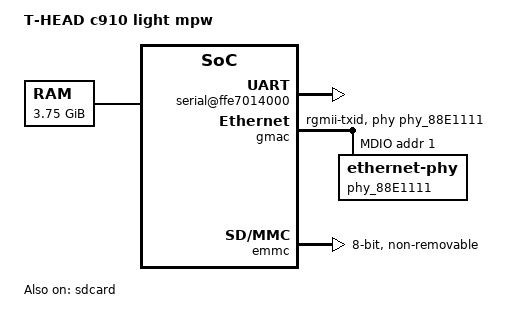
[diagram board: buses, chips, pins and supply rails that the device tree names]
/dts-v1/;
/ {
	model = "T-HEAD c910 light mpw";
	compatible = "thead,c910_light_mpw";
	#address-cells = <2>;
	#size-cells = <2>;

	memory@0 {
		device_type = "memory";
		reg = <0x0 0x00200000 0x0 0xf0000000>;
	};

	cpus {
		#address-cells = <1>;
		#size-cells = <0>;
		timebase-frequency = <0x2dc6c0>;
		cpu@0 {
			device_type = "cpu";
			reg = <0>;
			status = "okay";
			compatible = "riscv";
			riscv,isa = "rv64imafdcvsu";
			mmu-type = "riscv,sv39";
			cpu-freq = "1.5Ghz";
			cpu-icache = "64KB";
			cpu-dcache = "64KB";
			cpu-l2cache = "2MB";
			cpu-tlb = "1024 4-ways";
			cpu-cacheline = "64Bytes";
			cpu-vector = "0.7.1";
			cpu0_intc: interrupt-controller {
				#interrupt-cells = <1>;
				compatible = "riscv,cpu-intc";
				interrupt-controller;
			};
		};
		cpu@1 {
			device_type = "cpu";
			reg = <1>;
			status = "okay";
			compatible = "riscv";
			riscv,isa = "rv64imafdcvsu";
			mmu-type = "riscv,sv39";
			cpu-freq = "1.5Ghz";
			cpu-icache = "64KB";
			cpu-dcache = "64KB";
			cpu-l2cache = "2MB";
			cpu-tlb = "1024 4-ways";
			cpu-cacheline = "64Bytes";
			cpu-vector = "0.7.1";
			cpu1_intc: interrupt-controller {
				#interrupt-cells = <1>;
				compatible = "riscv,cpu-intc";
				interrupt-controller;
			};
		};
		cpu@2 {
			device_type = "cpu";
			reg = <2>;
			status = "okay";
			compatible = "riscv";
			riscv,isa = "rv64imafdcvsu";
			mmu-type = "riscv,sv39";
			cpu-freq = "1.5Ghz";
			cpu-icache = "64KB";
			cpu-dcache = "64KB";
			cpu-l2cache = "2MB";
			cpu-tlb = "1024 4-ways";
			cpu-cacheline = "64Bytes";
			cpu-vector = "0.7.1";
			cpu2_intc: interrupt-controller {
				#interrupt-cells = <1>;
				compatible = "riscv,cpu-intc";
				interrupt-controller;
			};
		};
		cpu@3 {
			device_type = "cpu";
			reg = <3>;
			status = "okay";
			compatible = "riscv";
			riscv,isa = "rv64imafdcvsu";
			mmu-type = "riscv,sv39";
			cpu-freq = "1.5Ghz";
			cpu-icache = "64KB";
			cpu-dcache = "64KB";
			cpu-l2cache = "2MB";
			cpu-tlb = "1024 4-ways";
			cpu-cacheline = "64Bytes";
			cpu-vector = "0.7.1";
			cpu3_intc: interrupt-controller {
				#interrupt-cells = <1>;
				compatible = "riscv,cpu-intc";
				interrupt-controller;
			};
		};
	};

	soc {
		#address-cells = <2>;
		#size-cells = <2>;
		compatible = "simple-bus";
		ranges;

		reset: reset-sample {
			compatible = "thead,reset-sample";
			plic-delegate = <0xff 0xd81ffffc>;
			using-csr-reset;
			csr-copy = <
				0x7c0 0x7c1 0x7c2 0x7c3 0x7c5 0x7cc
				0x3b0 0x3b1 0x3b2 0x3b3
				0x3b4 0x3b5 0x3b6 0x3b7
				0x3a0
				>;
		};

		clint0: clint@ffdc000000 {
			compatible = "riscv,clint0";
			interrupts-extended = <
				&cpu0_intc  3 &cpu0_intc  7
				&cpu1_intc  3 &cpu1_intc  7
				&cpu2_intc  3 &cpu2_intc  7
				&cpu3_intc  3 &cpu3_intc  7
				>;
			reg = <0xff 0xdc000000 0x0 0x04000000>;
			clint,has-no-64bit-mmio;
		};

		intc: interrupt-controller@ffd8000000 {
			#interrupt-cells = <1>;
			compatible = "riscv,plic0";
			interrupt-controller;
			interrupts-extended = <
				&cpu0_intc  0xffffffff &cpu0_intc  9
				&cpu1_intc  0xffffffff &cpu1_intc  9
				&cpu2_intc  0xffffffff &cpu2_intc  9
				&cpu3_intc  0xffffffff &cpu3_intc  9
				>;
			reg = <0xff 0xd8000000 0x0 0x08000000>;
			reg-names = "control";
			riscv,max-priority = <7>;
			riscv,ndev = <80>;
		};

                clocks {
			compatible = "simple-bus";
			#address-cells = <1>;
			#size-cells = <0>;

			dummy_apb: apb-clock {
				compatible = "fixed-clock";
				clock-frequency = <62500000>;
				clock-output-names = "dummy_apb";
				#clock-cells = <0>;
			};

			dummy_clock_sdhci: sdhci-clock {
				compatible = "fixed-clock";
				reg = <4>;	/* Not address, just for index */
				clock-frequency = <198000000>;
				clock-output-names = "dummy_clock_sdhci";
				#clock-cells = <0>;
			};

			dummy_clock_gmac: gmac-clock {
				compatible = "fixed-clock";
				clock-frequency = <1000000000>;
				clock-output-names = "dummy_clock_gmac";
				#clock-cells = <0>;
			};
		};

		serial@ffe7014000 {
			compatible = "snps,dw-apb-uart";
			reg = <0xff 0xe7014000 0x0 0x4000>;
			interrupt-parent = <&intc>;
			interrupts = <36>;
			clocks = <&dummy_apb>;
			clock-names = "baudclk";
			reg-shift = <2>;
			reg-io-width = <4>;
		};

		stmmac_axi_setup: stmmac-axi-config {
			snps,wr_osr_lmt = <3>;
			snps,rd_osr_lmt = <3>;
			snps,blen = <16 8 4 0 0 0 0>;
		};

		gmac: ethernet@ffe7070000 {
			compatible = "snps,dwmac";
			reg = <0xff 0xe7070000 0x0 0x2000>;
			interrupt-parent = <&intc>;
			interrupts = <66>;
			interrupt-names = "macirq";
			clocks = <&dummy_clock_gmac>;
			clock-names = "stmmaceth";
			snps,pbl = <32>;
			snps,fixed-burst;
			snps,axi-config = <&stmmac_axi_setup>;

			phy-mode = "rgmii-txid";
			phy-handle = <&phy_88E1111>;
			mdio0 {
				#address-cells = <1>;
				#size-cells = <0>;
				compatible = "snps,dwmac-mdio";

				phy_88E1111: ethernet-phy@0 {
					reg = <0x1>;
				};
			};
		};

		emmc: sdhci@ffe7080000 {
			compatible = "snps,dwcmshc-sdhci-light-mpw";
			reg = <0xff 0xe7080000 0x0 0x10000
			       0xff 0xEF014060 0x0 0x4>;
			interrupt-parent = <&intc>;
			interrupts = <62>;
			interrupt-names = "sdhciirq";
			clocks = <&dummy_clock_sdhci>;
			clock-names = "core";
			max-frequency = <198000000>;
			non-removable;
			is_emmc;
			no-sdio;
			no-sd;
			no-1-8-v;
			bus-width = <8>;
			status = "okay";
		};

		sdcard: sd@ffe7090000 {
			compatible = "snps,dwcmshc-sdhci-light-mpw";
			reg = <0xff 0xe7090000 0x0 0x10000
                   	       0xff 0xEF014064 0x0 0x4>;
			interrupt-parent = <&intc>;
			interrupts = <64>;
			interrupt-names = "sdhci0irq";
			clocks = <&dummy_clock_sdhci>;
			clock-names = "core";
			max-frequency = <198000000>;
			bus-width = <4>;
			status = "okay";
		};

		pmu: pmu {
			interrupt-parent = <&cpu0_intc>;
			interrupts = <17>;
			compatible = "riscv,c910_pmu";
		};
	};

	chosen {
		bootargs = "console=ttyS0,115200 root=PARTUUID=80a5a8e9-c744-491a-93c1-4f4194fd690b rootfstype=ext4 rdinit=/sbin/init rootwait rw earlyprintk clk_ignore_unused loglevel=7 eth=00:a0:a0:a0:a0:a1";
		stdout-path = "/soc/serial@ffe7014000:115200";
	};
};
